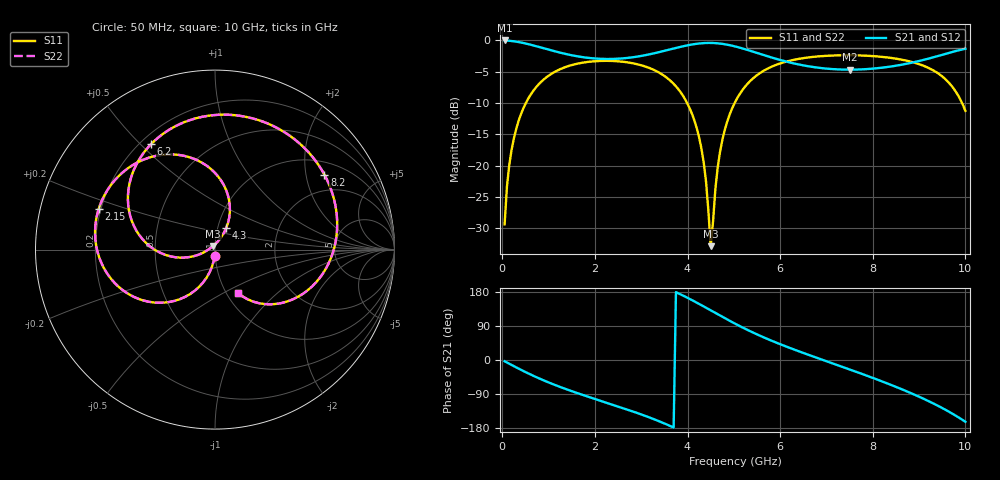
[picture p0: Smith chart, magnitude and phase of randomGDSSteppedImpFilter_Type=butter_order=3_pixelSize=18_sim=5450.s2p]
! freq	dB(S11)	phase(S11)	dB(S12)	phase(S12)
!  dB(S21)	phase(S21)	dB(S22)	phase(S22)
!S-par simulation data
#  GHz  S  DB  R 50
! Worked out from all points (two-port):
!   200 points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, 50 MHz to 10 GHz, reference 50 ohm
!   highest |S21| = -0.01 dB at 50 MHz (marker M1); lowest = -4.7 dB at 7.5 GHz (marker M2)
!   |S21| within 3 dB of the highest: start of sweep to 5.945 GHz; 9.152 GHz to end of sweep
!   lowest |S11| = -32.9 dB at 4.5 GHz (marker M3), VSWR 1.05, Z = 48.9 + j1.97 ohm
!   |S11| at or under -10 dB: start of sweep to 509 MHz; 3.991 GHz to 5.018 GHz (1.027 GHz wide, 22.8 % of centre); 9.928 GHz to end of sweep
!   |S22| runs from -32.8 to -2.4 dB; largest |S21 - S12| = 0
!   S11 on the Smith chart (normalised r, x): 50 MHz: 0.99, -0.07; 2.15 GHz: 0.19, +0.16; 4.3 GHz: 1.10, +0.27; 6.2 GHz: 0.24, +0.54; 8.2 GHz: 1.39, +2.56; 10 GHz: 1.13, -0.59
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0.05  -29.36 -93.5  -0.01 -3.3  -0.01 -3.3  -29.36 -93.5
0.1  -23.38 -97.0  -0.03 -6.6  -0.03 -6.6  -23.38 -97.0
0.2  -17.49 -103.7  -0.10 -13.1  -0.10 -13.1  -17.49 -103.7
0.5  -10.13 -122.3  -0.49 -31.8  -0.49 -31.8  -10.13 -122.3
1  -5.63 -149.7  -1.47 -59.2  -1.47 -59.2  -5.63 -149.7
1.75  -3.54 176.8  -2.69 -92.7  -2.69 -92.7  -3.54 176.8
2.15  -3.27 160.8  -2.95 -108.7  -2.95 -108.7  -3.27 160.8
3.4  -5.20 108.2  -1.85 -162.3  -1.85 -162.3  -5.20 108.1
3.95  -9.43 79.4  -0.86 167.2  -0.86 167.2  -9.43 79.4
4.3  -17.26 62.5  -0.46 144.7  -0.46 144.7  -17.26 62.5
4.4  -22.60 63.6  -0.41 137.9  -0.41 137.9  -22.60 63.6
4.5  -32.85 118.0  -0.40 131.1  -0.40 131.1  -32.85 118.0
4.7  -17.87 -162.8  -0.50 117.5  -0.50 117.5  -17.87 -162.9
5.05  -9.53 -179.6  -1.00 94.4  -1.00 94.4  -9.53 -179.7
5.6  -5.04 150.1  -2.23 62.1  -2.23 62.1  -5.04 150.1
6.2  -3.26 121.2  -3.51 32.3  -3.51 32.3  -3.26 121.1
6.7  -2.64 99.2  -4.24 9.8  -4.24 9.8  -2.64 99.1
7.5  -2.37 65.2  -4.67 -24.9  -4.67 -24.9  -2.37 65.1
8.2  -2.63 34.4  -4.36 -56.5  -4.36 -56.5  -2.63 34.3
8.35  -2.75 27.5  -4.21 -63.6  -4.21 -63.6  -2.75 27.4
9.3  -4.76 -20.8  -2.72 -114.2  -2.72 -114.2  -4.76 -20.9
10  -11.26 -62.0  -1.33 -163.0  -1.33 -163.0  -11.25 -62.0
